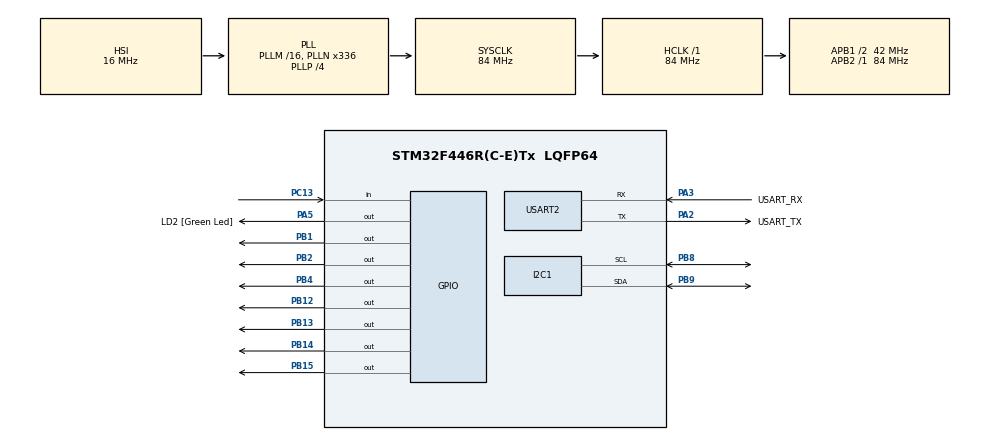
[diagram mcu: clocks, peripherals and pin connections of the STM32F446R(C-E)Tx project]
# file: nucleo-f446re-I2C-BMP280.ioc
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Mcu.Family=STM32F4
Mcu.Name=STM32F446R(C-E)Tx
Mcu.Package=LQFP64
NVIC.PriorityGroup=NVIC_PRIORITYGROUP_0
PA13.GPIO_Label=TMS
PA13.Mode=Serial_Wire
PA13.Signal=SYS_JTMS-SWDIO
PA14.GPIO_Label=TCK
PA14.Mode=Serial_Wire
PA14.Signal=SYS_JTCK-SWCLK
PA2.GPIO_Label=USART_TX
PA2.Mode=Asynchronous
PA2.Signal=USART2_TX
PA3.GPIO_Label=USART_RX
PA3.Mode=Asynchronous
PA3.Signal=USART2_RX
PA5.GPIO_Label=LD2 [Green Led]
PA5.Signal=GPIO_Output
PB1.Signal=GPIO_Output
PB12.Signal=GPIO_Output
PB13.Signal=GPIO_Output
PB14.Signal=GPIO_Output
PB15.Signal=GPIO_Output
PB2.Signal=GPIO_Output
PB3.GPIO_Label=SWO
PB3.Signal=SYS_JTDO-SWO
PB4.Signal=GPIO_Output
PB8.Mode=I2C
PB8.Signal=I2C1_SCL
PB9.Mode=I2C
PB9.Signal=I2C1_SDA
PC13.Signal=GPIO_Input
PC14-OSC32_IN.Mode=LSE-External-Oscillator
PC14-OSC32_IN.Signal=RCC_OSC32_IN
PC15-OSC32_OUT.Mode=LSE-External-Oscillator
PC15-OSC32_OUT.Signal=RCC_OSC32_OUT
PH0-OSC_IN.Mode=HSE-External-Oscillator
PH0-OSC_IN.Signal=RCC_OSC_IN
PH1-OSC_OUT.Mode=HSE-External-Oscillator
PH1-OSC_OUT.Signal=RCC_OSC_OUT
ProjectManager.HeapSize=0x200
ProjectManager.StackSize=0x400
ProjectManager.TargetToolchain=STM32CubeIDE
RCC.48MHZClocksFreq_Value=84000000
RCC.AHBFreq_Value=84000000
RCC.APB1CLKDivider=RCC_HCLK_DIV2
RCC.APB1Freq_Value=42000000
RCC.APB1TimFreq_Value=84000000
RCC.APB2Freq_Value=84000000
RCC.APB2TimFreq_Value=84000000
RCC.CortexFreq_Value=84000000
RCC.FLatency-AdvancedSettings=FLASH_LATENCY_2
RCC.HCLKFreq_Value=84000000
RCC.HSE_VALUE=8000000
RCC.HSI_VALUE=16000000
RCC.PLLN=336
RCC.PLLP=RCC_PLLP_DIV4
RCC.SYSCLKFreq_VALUE=84000000
RCC.SYSCLKSource=RCC_SYSCLKSOURCE_PLLCLK
RCC.USBFreq_Value=168000000
RCC.VCOOutputFreq_Value=336000000
USART2.VirtualMode=VM_ASYNC
board=NUCLEO-F446RE

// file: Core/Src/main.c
/* USER CODE BEGIN Header */
/**
  ******************************************************************************
  * @file           : main.c
  * @brief          : Main program body
  ******************************************************************************
  * @attention
  *
  * Copyright (c) 2026 STMicroelectronics.
  * All rights reserved.
  *
  * This software is licensed under terms that can be found in the LICENSE file
  * in the root directory of this software component.
  * If no LICENSE file comes with this software, it is provided AS-IS.
  *
  ******************************************************************************
  */
/* USER CODE END Header */
#include "main.h"

/* USER CODE BEGIN Includes */
#include <string.h>
#include <stdio.h>

#include "bmp280.h"
#include "lcd1602a_v2.h"
#include "button.h"
/* USER CODE END Includes */

I2C_HandleTypeDef hi2c1;

UART_HandleTypeDef huart2;

void SystemClock_Config(void);
static void MX_GPIO_Init(void);
static void MX_I2C1_Init(void);
static void MX_USART2_UART_Init(void);

int main(void)
{

  /* MCU Configuration--------------------------------------------------------*/

  /* Reset of all peripherals, Initializes the Flash interface and the Systick. */
  HAL_Init();

  /* Configure the system clock */
  SystemClock_Config();

  /* Initialize all configured peripherals */
  MX_GPIO_Init();
  MX_I2C1_Init();
  MX_USART2_UART_Init();
  /* USER CODE BEGIN 2 */
  bmp280_init(&hi2c1);
  lcd1602_init(&hi2c1);

  typedef enum
  {
	  TEMPERATURE,
	  PRESSURE,
	  ACCELEROMETER
  }SystemState;
  SystemState state = TEMPERATURE;

  int* bmp280Results;
  char temperature_string[12];
  char pressure_string[12];

  /* USER CODE END 2 */

  /* Infinite loop */
  /* USER CODE BEGIN WHILE */
  while (1)
  {
	  switch(state)
	  {
	  case TEMPERATURE:
		  bmp280_read_registers(&hi2c1);
		  bmp280Results = bmp280_calculate_temperature();
		  bmp280_print_temp(&huart2);
		  snprintf(temperature_string, sizeof(temperature_string), "%d F", bmp280Results[TEMPERATURE]);
		  lcd_display_string("Temperature:", 1);
		  lcd_display_string(temperature_string, 2);

		  if (read_button())
			  state = PRESSURE;

		  break;

	  case PRESSURE:
      bmp280_read_registers(&hi2c1);
		  bmp280Results = bmp280_calculate_temperature();
      snprintf(pressure_string, sizeof(pressure_string), "%d Pa", bmp280Results[PRESSURE]);
		  lcd_display_string("Pressure:", 1);
		  lcd_display_string(pressure_string, 2);

		  if (read_button())
			  state = ACCELEROMETER;

		  break;

	  case ACCELEROMETER:
		  lcd_display_string("Acceleration:", 1);
		  lcd_display_string("_______", 2);

		  if (read_button())
			  state = TEMPERATURE;

		  break;

	  default:
		  state = TEMPERATURE;
		  break;

	  }
    /* USER CODE END WHILE */

  }
}

void SystemClock_Config(void)
{
  RCC_OscInitTypeDef RCC_OscInitStruct = {0};
  RCC_ClkInitTypeDef RCC_ClkInitStruct = {0};

  /** Configure the main internal regulator output voltage
  */
  __HAL_RCC_PWR_CLK_ENABLE();
  __HAL_PWR_VOLTAGESCALING_CONFIG(PWR_REGULATOR_VOLTAGE_SCALE3);

  /** Initializes the RCC Oscillators according to the specified parameters
  * in the RCC_OscInitTypeDef structure.
  */
  RCC_OscInitStruct.OscillatorType = RCC_OSCILLATORTYPE_HSI;
  RCC_OscInitStruct.HSIState = RCC_HSI_ON;
  RCC_OscInitStruct.HSICalibrationValue = RCC_HSICALIBRATION_DEFAULT;
  RCC_OscInitStruct.PLL.PLLState = RCC_PLL_ON;
  RCC_OscInitStruct.PLL.PLLSource = RCC_PLLSOURCE_HSI;
  RCC_OscInitStruct.PLL.PLLM = 16;
  RCC_OscInitStruct.PLL.PLLN = 336;
  RCC_OscInitStruct.PLL.PLLP = RCC_PLLP_DIV4;
  RCC_OscInitStruct.PLL.PLLQ = 2;
  RCC_OscInitStruct.PLL.PLLR = 2;
  if (HAL_RCC_OscConfig(&RCC_OscInitStruct) != HAL_OK)
  {
    Error_Handler();
  }

  /** Initializes the CPU, AHB and APB buses clocks
  */
  RCC_ClkInitStruct.ClockType = RCC_CLOCKTYPE_HCLK|RCC_CLOCKTYPE_SYSCLK
                              |RCC_CLOCKTYPE_PCLK1|RCC_CLOCKTYPE_PCLK2;
  RCC_ClkInitStruct.SYSCLKSource = RCC_SYSCLKSOURCE_PLLCLK;
  RCC_ClkInitStruct.AHBCLKDivider = RCC_SYSCLK_DIV1;
  RCC_ClkInitStruct.APB1CLKDivider = RCC_HCLK_DIV2;
  RCC_ClkInitStruct.APB2CLKDivider = RCC_HCLK_DIV1;

  if (HAL_RCC_ClockConfig(&RCC_ClkInitStruct, FLASH_LATENCY_2) != HAL_OK)
  {
    Error_Handler();
  }
}

static void MX_I2C1_Init(void)
{

  hi2c1.Instance = I2C1;
  hi2c1.Init.ClockSpeed = 100000;
  hi2c1.Init.DutyCycle = I2C_DUTYCYCLE_2;
  hi2c1.Init.OwnAddress1 = 0;
  hi2c1.Init.AddressingMode = I2C_ADDRESSINGMODE_7BIT;
  hi2c1.Init.DualAddressMode = I2C_DUALADDRESS_DISABLE;
  hi2c1.Init.OwnAddress2 = 0;
  hi2c1.Init.GeneralCallMode = I2C_GENERALCALL_DISABLE;
  hi2c1.Init.NoStretchMode = I2C_NOSTRETCH_DISABLE;
  if (HAL_I2C_Init(&hi2c1) != HAL_OK)
  {
    Error_Handler();
  }

}

static void MX_USART2_UART_Init(void)
{

  huart2.Instance = USART2;
  huart2.Init.BaudRate = 115200;
  huart2.Init.WordLength = UART_WORDLENGTH_8B;
  huart2.Init.StopBits = UART_STOPBITS_1;
  huart2.Init.Parity = UART_PARITY_NONE;
  huart2.Init.Mode = UART_MODE_TX_RX;
  huart2.Init.HwFlowCtl = UART_HWCONTROL_NONE;
  huart2.Init.OverSampling = UART_OVERSAMPLING_16;
  if (HAL_UART_Init(&huart2) != HAL_OK)
  {
    Error_Handler();
  }

}

static void MX_GPIO_Init(void)
{
  GPIO_InitTypeDef GPIO_InitStruct = {0};

  /* GPIO Ports Clock Enable */
  __HAL_RCC_GPIOC_CLK_ENABLE();
  __HAL_RCC_GPIOH_CLK_ENABLE();
  __HAL_RCC_GPIOA_CLK_ENABLE();
  __HAL_RCC_GPIOB_CLK_ENABLE();

  /*Configure GPIO pin Output Level */
  HAL_GPIO_WritePin(LD2_GPIO_Port, LD2_Pin, GPIO_PIN_RESET);

  /*Configure GPIO pin Output Level */
  HAL_GPIO_WritePin(GPIOB, GPIO_PIN_1|GPIO_PIN_2|GPIO_PIN_12|GPIO_PIN_13
                          |GPIO_PIN_14|GPIO_PIN_15|GPIO_PIN_4, GPIO_PIN_RESET);

  /*Configure GPIO pin : PC13 */
  GPIO_InitStruct.Pin = GPIO_PIN_13;
  GPIO_InitStruct.Mode = GPIO_MODE_INPUT;
  GPIO_InitStruct.Pull = GPIO_NOPULL;
  HAL_GPIO_Init(GPIOC, &GPIO_InitStruct);

  /*Configure GPIO pin : LD2_Pin */
  GPIO_InitStruct.Pin = LD2_Pin;
  GPIO_InitStruct.Mode = GPIO_MODE_OUTPUT_PP;
  GPIO_InitStruct.Pull = GPIO_NOPULL;
  GPIO_InitStruct.Speed = GPIO_SPEED_FREQ_LOW;
  HAL_GPIO_Init(LD2_GPIO_Port, &GPIO_InitStruct);

  /*Configure GPIO pins : PB1 PB2 PB12 PB13
                           PB14 PB15 PB4 */
  GPIO_InitStruct.Pin = GPIO_PIN_1|GPIO_PIN_2|GPIO_PIN_12|GPIO_PIN_13
                          |GPIO_PIN_14|GPIO_PIN_15|GPIO_PIN_4;
  GPIO_InitStruct.Mode = GPIO_MODE_OUTPUT_PP;
  GPIO_InitStruct.Pull = GPIO_NOPULL;
  GPIO_InitStruct.Speed = GPIO_SPEED_FREQ_LOW;
  HAL_GPIO_Init(GPIOB, &GPIO_InitStruct);

}

void Error_Handler(void)
{
  __disable_irq();
  while (1)
  {
  }
}
